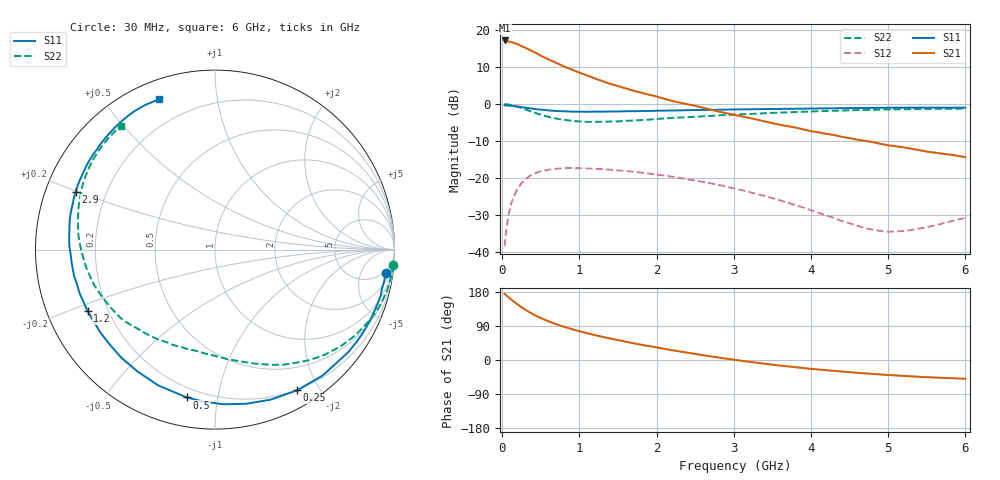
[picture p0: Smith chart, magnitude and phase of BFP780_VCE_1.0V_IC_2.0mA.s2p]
! Infineon Technologies  Discrete & RF Semiconductors
! BFP780
! VCE =  1.0 V,  IC =  2.0 mA
! Common Emitter S-Parameters:  Jul 2015
# GHz  S  MA  R  50
!  f  S11  S21  S12  S22
! GHz  MAG  ANG  MAG  ANG  MAG  ANG  MAG  ANG
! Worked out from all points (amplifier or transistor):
!   75 points, 30 MHz to 6 GHz, reference 50 ohm
!   highest |S21| = 17.1 dB at 30 MHz (marker M1)
!   |S21| within 3 dB of that: start of sweep to 398.6 MHz
!   unconditionally stable (mu >= 1): 3.052 GHz to end of sweep
!   at 150 MHz: K = 0.02, MSG = 20.7 dB, |S12| = -24.9 dB
!   at 2.3 GHz: K = 0.59, MSG = 10.1 dB, |S12| = -19.9 dB
!   at 6 GHz: K = 4.32, MAG = -1.1 dB, |S12| = -30.7 dB
!   S11 on the Smith chart (normalised r, x): 30 MHz: 4, -13; 250 MHz: 0.19, -1.73; 500 MHz: 0.15, -0.82; 1.2 GHz: 0.12, -0.23; 2.9 GHz: 0.09, +0.20; 6 GHz: 0.08, +0.69
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0.03  0.9596 -7.9  7.193 174.6  0.0121 85.3  0.9973 -5.0
0.04  0.9593 -10.4  6.993 172.8  0.0156 83.1  0.9948 -6.6
0.08  0.9522 -20.7  6.995 165.6  0.0315 78.2  0.9857 -13.1
0.14  0.9383 -35.6  6.763 155.6  0.0531 67.0  0.9544 -22.7
0.2  0.9231 -49.4  6.427 146.4  0.0722 58.0  0.9164 -31.4
0.25  0.9076 -59.7  6.016 139.2  0.0856 51.0  0.8826 -37.8
0.3  0.8918 -69.7  5.737 132.6  0.0967 44.7  0.8449 -44.1
0.35  0.8763 -78.7  5.389 126.4  0.1059 38.8  0.8083 -49.7
0.45  0.8495 -94.4  4.803 115.4  0.1192 28.6  0.7446 -59.5
0.5  0.8386 -100.8  4.467 110.7  0.124 24.4  0.7182 -63.4
0.6  0.82 -112.8  3.992 101.9  0.1302 16.6  0.6704 -71.2
0.7  0.8043 -122.7  3.584 94.3  0.1339 9.7  0.6351 -78.0
0.8  0.7972 -130.7  3.201 87.6  0.1364 3.8  0.6129 -83.9
1.1  0.7849 -149.5  2.424 70.7  0.1351 -10.6  0.5737 -100.2
1.2  0.7887 -154.2  2.212 65.7  0.134 -14.6  0.575 -104.8
1.6  0.7984 -169.4  1.622 48.2  0.125 -28.8  0.5924 -122.0
2.1  0.8146 176.1  1.176 29.4  0.1081 -43.8  0.638 -140.7
2.9  0.8405 157.5  0.753 3.6  0.0772 -62.2  0.7094 -166.9
3.1  0.8463 153.3  0.68 -2.0  0.0691 -65.8  0.7266 -172.9
4.1  0.8713 134.7  0.414 -25.2  0.034 -70.4  0.7992 161.6
5.1  0.8922 120.3  0.269 -40.8  0.0191 -28.4  0.8465 142.2
6  0.8932 110.4  0.192 -49.5  0.0291 3.6  0.8667 127.4
